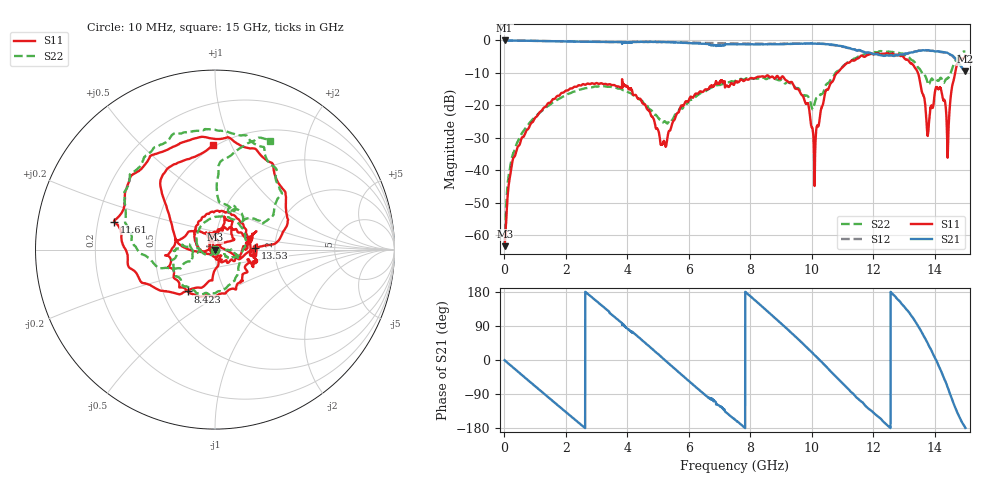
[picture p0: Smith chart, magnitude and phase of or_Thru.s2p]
!	Fieldfox Controller
!	Chapman University - Class ENG398
!	Introduction to RF - DMG (2024)
!Created with skrf (http://scikit-rf.org).
# Hz S RI R 50.0
!freq ReS11 ImS11 ReS21 ImS21 ReS12 ImS12 ReS22 ImS22
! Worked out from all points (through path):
!   4001 points, 10 MHz to 15 GHz, reference 50 ohm
!   highest |S21| = -0.01 dB at 10 MHz (marker M1); lowest = -9.5 dB at 15 GHz (marker M2)
!   group delay of S21, straight-line fit = 211 ps
!   lowest |S11| = -63.5 dB at 13.75 MHz (marker M3), VSWR 1.00, Z = 50.1 - j0.00637 ohm
!   |S11| at or under -10 dB: start of sweep to 10.83 GHz; 13.46 GHz to 14.67 GHz (1.209 GHz wide, 8.6 % of centre)
!   |S22| runs from -63.1 to -3.3 dB; largest |S21 - S12| = 0.11
!   S11 on the Smith chart (normalised r, x): 10 MHz: 1.00, +0.00; 8.423 GHz: 0.67, -0.34; 11.61 GHz: 0.27, +0.13; 13.53 GHz: 1.57, +0.02; 15 GHz: 0.48, +0.86
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1e7  0.000679 3.1e-05  0.9992 -0.0127  0.9989 -0.0127  0.000679 -0.000154
1.37475e7  0.000668 -6.36e-05  0.999 -0.0172  0.9988 -0.0176  0.000674 -0.000251
1.8988e8  -0.00107 -0.00813  0.9693 -0.2283  0.9691 -0.2285  -0.000128 -0.0111
5.4964e8  -0.0175 -0.0241  0.7805 -0.6105  0.7809 -0.6103  -0.0202 -0.0293
1.467778e9  -0.1026 0.0347  -0.184 -0.9583  -0.1844 -0.9595  -0.0977 0.0245
2.509582e9  -0.0327 0.2009  -0.9467 -0.1383  -0.9461 -0.1392  -0.0152 0.1761
3.753752e9  0.1789 0.0667  -0.2018 0.9242  -0.2344 0.9175  0.173 0.0526
5.009165e9  -0.00426 -0.0406  0.9123 0.2511  0.9038 0.2856  0.0561 -0.03
6.332032e9  0.1103 0.1128  0.1801 -0.8776  0.2363 -0.8891  0.1343 -0.062
7.505e9  0.1518 -0.1653  -0.8052 -0.3381  -0.8255 -0.3519  0.00957 -0.2372
8.423138e9  -0.1523 -0.2333  -0.6505 0.5766  -0.6571 0.593  -0.1854 -0.1916
9.206365e9  -0.237 0.0091  0.1289 0.8763  0.1245 0.8828  -0.2298 -0.00627
1.000458e10  -0.0115 0.0447  0.8374 0.3183  0.849 0.3028  -0.091 -0.0119
1.087026e10  -0.2187 -0.2437  0.5252 -0.6398  0.5046 -0.6473  -0.3282 -0.0914
1.160851e10  -0.5608 0.1558  -0.2283 -0.6494  -0.2464 -0.6394  -0.505 0.3161
1.250416e10  -0.039 0.6231  -0.5801 -0.0441  -0.5696 -0.03  -0.0382 0.6704
1.352723e10  0.2232 0.00675  0.1091 0.6848  0.1068 0.6965  0.3079 0.1792
1.377832e10  0.0271 0.0222  0.5127 0.4852  0.5158 0.4831  0.1518 0.1579
1.40219e10  0.0547 0.1663  0.676 0.0456  0.677 0.0462  0.1 0.2187
1.443038e10  -0.0187 0.00865  0.1748 -0.6121  0.1843 -0.5959  0.028 0.2616
1.47077e10  -0.2822 0.2729  -0.3412 -0.3649  -0.3246 -0.3792  0.04 0.4981
1.5e10  -0.00942 0.585  -0.3342 -0.00477  -0.3404 -0.0138  0.3072 0.6045
